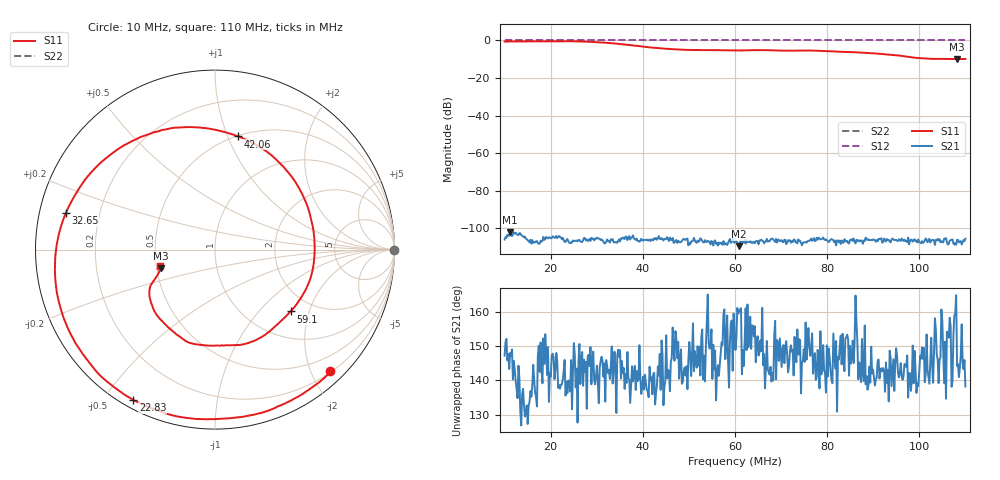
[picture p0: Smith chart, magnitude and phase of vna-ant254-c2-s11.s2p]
! Anritsu VNA Master:  Model: MS2034B/10/19/501
! SN:  1337062
! /bd0/ovro-jan-2016/vna-jan/vna-ant254-c2-s11.s2p
! Existing Calibration Information:
! TYPE:  Current Settings,  Active Cal Settings
! TIME:  01/13/2016 05:36:23 PM,  01/13/2016 05:04:46 PM
! INTERNAL TEMP:  41.3 C,  41.8 C
! # POINTS:  500,  500
! START FREQ:  10.000 MHz,  10.000 MHz
! STOP FREQ:  110.000 MHz,  110.000 MHz
! SOURCE POWER:  High,  High
! IFBW:  100 Hz,  100 Hz
! AVG FACTOR:  4 ,  4
! REF PLANE 1:  0 mm,  0 mm
! REF PLANE 2:  0 mm,  0 mm
! CAL TYPE:  Full S11,  Full S11
! CAL METHOD:  SOLT,  SOLT
! CAL LINE TYPE:  Coax,  Coax
! DUT PORT 1:  K-Conn(M),  K-Conn(M)
! DUT PORT 2:  N-Conn(M),  N-Conn(M)
! CAL STATUS:  OK: Accuracy High,  --
# GHZ S DB R 50.0
! FREQ.GHZ  S11DB  S11A  S21DB  S21A  S12DB  S12A  S22DB  S22A
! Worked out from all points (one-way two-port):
!   500 points, 10 MHz to 110 MHz, reference 50 ohm
!   highest |S21| = -102.13 dB at 11.2 MHz (marker M1); lowest = -109.6 dB at 60.9 MHz (marker M2)
!   lowest |S11| = -9.9 dB at 108.2 MHz (marker M3), VSWR 1.94, Z = 26.3 - j6.06 ohm
!   |S11| at or under -10 dB: nowhere
!   |S22| runs from 0.0 to 0.0 dB; largest |S21 - S12| = 1
!   S11 on the Smith chart (normalised r, x): 10 MHz: 0.21, -2.31; 22.83 MHz: 0.03, -0.59; 32.65 MHz: 0.08, +0.12; 42.06 MHz: 0.51, +1.09; 59.1 MHz: 1.55, -1.52; 110 MHz: 0.52, -0.11
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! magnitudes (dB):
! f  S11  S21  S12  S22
! 10 MHz  -0.6  -106.1  0.0  0.0
! 11.2 MHz  -0.5  -102.1  0.0  0.0
! 22.83 MHz  -0.4  -106.5  0.0  0.0
! 26.83 MHz  -0.6  -107.4  0.0  0.0
! 29.64 MHz  -0.8  -105.7  0.0  0.0
! 32.65 MHz  -1.3  -106.9  0.0  0.0
! 42.06 MHz  -3.8  -106.0  0.0  0.0
! 43.47 MHz  -4.1  -104.3  0.0  0.0
! 49.48 MHz  -5.0  -105.7  0.0  0.0
! 59.1 MHz  -5.3  -107.9  0.0  0.0
! 60.1 MHz  -5.3  -107.0  0.0  0.0
! 60.9 MHz  -5.3  -109.6  0.0  0.0
! 65.51 MHz  -5.1  -106.6  0.0  0.0
! 70.92 MHz  -5.4  -106.2  0.0  0.0
! 76.73 MHz  -5.4  -106.7  0.0  0.0
! 86.55 MHz  -6.3  -106.3  0.0  0.0
! 93.37 MHz  -7.5  -106.3  0.0  0.0
! 95.57 MHz  -8.0  -105.9  0.0  0.0
! 98.98 MHz  -9.2  -105.9  0.0  0.0
! 101.2 MHz  -9.6  -106.6  0.0  0.0
! 108.2 MHz  -9.9  -106.3  0.0  0.0
! 110 MHz  -9.8  -105.6  0.0  0.0
